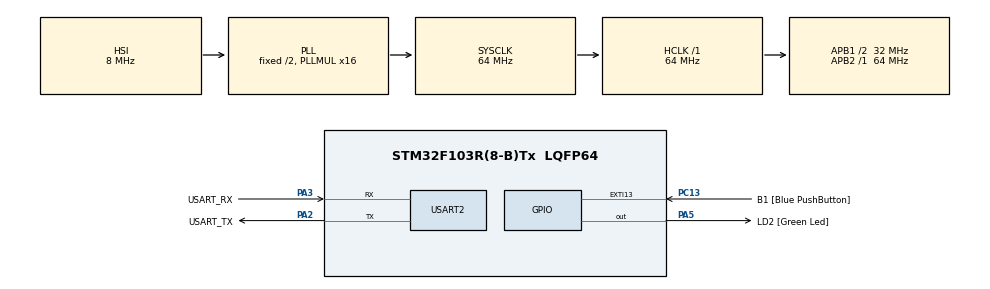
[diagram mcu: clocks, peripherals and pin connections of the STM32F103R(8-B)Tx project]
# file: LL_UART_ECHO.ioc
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Mcu.Family=STM32F1
PC15-OSC32_OUT.Mode=LSE-External-Oscillator
PA2.GPIO_PuPd=GPIO_NOPULL
PD1-OSC_OUT.Mode=HSE-External-Clock-Source
PA14.GPIO_Label=TCK
PA3.GPIO_PuPd=GPIO_NOPULL
PA2.GPIO_Speed=GPIO_SPEED_FREQ_LOW
PC13-TAMPER-RTC.Signal=GPXTI13
PD0-OSC_IN.Signal=RCC_OSC_IN
RCC.APB1CLKDivider=RCC_HCLK_DIV2
PC14-OSC32_IN.Signal=RCC_OSC32_IN
PA3.GPIO_Speed=GPIO_SPEED_FREQ_LOW
NVIC.USART2_IRQn=true\:0\:0\:false\:false\:true\:true\:true
RCC.SYSCLKSource=RCC_SYSCLKSOURCE_PLLCLK
ProjectManager.StackSize=0x400
PD1-OSC_OUT.Signal=RCC_OSC_OUT
PA13.Signal=SYS_JTMS-SWDIO
PA3.Mode=Asynchronous
ProjectManager.TargetToolchain=STM32CubeIDE
PA3.GPIO_Mode=GPIO_MODE_AF_PP
RCC.HCLKFreq_Value=64000000
RCC.APB2TimFreq_Value=64000000
RCC.USBFreq_Value=64000000
PC15-OSC32_OUT.Signal=RCC_OSC32_OUT
RCC.AHBFreq_Value=64000000
PD0-OSC_IN.Mode=HSE-External-Clock-Source
NVIC.EXTI15_10_IRQn=true\:0\:0\:false\:false\:true\:true\:true
PA5.Signal=GPIO_Output
board=NUCLEO-F103RB
RCC.RTCClockSelection=RCC_RTCCLKSOURCE_LSE
PC13-TAMPER-RTC.GPIO_Label=B1 [Blue PushButton]
RCC.PLLMUL=RCC_PLL_MUL16
RCC.APB2Freq_Value=64000000
PC14-OSC32_IN.Mode=LSE-External-Oscillator
PA5.GPIO_ModeDefaultOutputPP=GPIO_MODE_OUTPUT_PP
PA14.Mode=Serial_Wire
PA5.GPIO_PuPd=GPIO_NOPULL
PA13.Mode=Serial_Wire
Mcu.Name=STM32F103R(8-B)Tx
PA2.Signal=USART2_TX
PA13.GPIO_Label=TMS
PB3.Signal=SYS_JTDO-TRACESWO
RCC.SYSCLKFreq_VALUE=64000000
Mcu.Package=LQFP64
PA5.GPIO_Label=LD2 [Green Led]
USART2.VirtualMode=VM_ASYNC
PC13-TAMPER-RTC.GPIO_PuPd=GPIO_NOPULL
PA2.GPIO_Label=USART_TX
PA14.Signal=SYS_JTCK-SWCLK
ProjectManager.HeapSize=0x200
PA5.GPIO_Speed=GPIO_SPEED_FREQ_LOW
NVIC.PriorityGroup=NVIC_PRIORITYGROUP_4
RCC.APB1TimFreq_Value=64000000
PA2.Mode=Asynchronous
RCC.APB1Freq_Value=32000000
PA3.GPIO_Label=USART_RX
PA3.Signal=USART2_RX
PA2.GPIO_Mode=GPIO_MODE_AF_PP
PB3.GPIO_Label=SWO

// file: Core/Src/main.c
/* USER CODE BEGIN Header */
/**
  ******************************************************************************
  * @file           : main.c
  * @brief          : Main program body
  ******************************************************************************
  * @attention
  *
  * <h2><center>&copy; Copyright (c) 2021 STMicroelectronics.
  * All rights reserved.</center></h2>
  *
  * This software component is licensed by ST under BSD 3-Clause license,
  * the "License"; You may not use this file except in compliance with the
  * License. You may obtain a copy of the License at:
  *                        opensource.org/licenses/BSD-3-Clause
  *
  ******************************************************************************
  */
/* USER CODE END Header */
#include "main.h"
#include "usart.h"
#include "gpio.h"

/* USER CODE BEGIN PTD */
	UART_Handle_Td Thuart2;
/* USER CODE END PTD */

void SystemClock_Config(void);

int main(void)
{

  /* MCU Configuration--------------------------------------------------------*/

  /* Reset of all peripherals, Initializes the Flash interface and the Systick. */
  HAL_Init();

  /* Configure the system clock */
  SystemClock_Config();

  /* Initialize all configured peripherals */
  MX_GPIO_Init();
  MX_USART2_UART_Init();
  /* USER CODE BEGIN 2 */

#define ReceiveTimeout 10
#define RX_BUFFER_SIZE   80
#define TX_BUFFER_SIZE   100

//uint8_t S_buf[20];

uint8_t Rx_USART2[RX_BUFFER_SIZE];
uint8_t Tx_USART2[TX_BUFFER_SIZE];

  Thuart2.Instance=USART2;
  Thuart2.pTxBuffPtr=Tx_USART2;
  Thuart2.TxXferSize=sizeof(Tx_USART2);
  Thuart2.TxXferCount=0;
  Thuart2.TxXSendCount=0;
  Thuart2.pRxBuffPtr=Rx_USART2;
  Thuart2.RxXferSize=sizeof(Rx_USART2);
  Thuart2.RxXPrevferCount=0;
  Thuart2.RecTimeout=ReceiveTimeout;
  Thuart2.zT=0;
  Thuart2.RecSomething=false;

  InitEcho(&Thuart2);

  /* USER CODE END 2 */

  /* Infinite loop */
  /* USER CODE BEGIN WHILE */
  while (1)
  {
	  HandleEcho( &Thuart2 ,200  );

    /* USER CODE END WHILE */

  }
}

void SystemClock_Config(void)
{
  RCC_OscInitTypeDef RCC_OscInitStruct = {0};
  RCC_ClkInitTypeDef RCC_ClkInitStruct = {0};

  /** Initializes the RCC Oscillators according to the specified parameters
  * in the RCC_OscInitTypeDef structure.
  */
  RCC_OscInitStruct.OscillatorType = RCC_OSCILLATORTYPE_HSI;
  RCC_OscInitStruct.HSIState = RCC_HSI_ON;
  RCC_OscInitStruct.HSICalibrationValue = RCC_HSICALIBRATION_DEFAULT;
  RCC_OscInitStruct.PLL.PLLState = RCC_PLL_ON;
  RCC_OscInitStruct.PLL.PLLSource = RCC_PLLSOURCE_HSI_DIV2;
  RCC_OscInitStruct.PLL.PLLMUL = RCC_PLL_MUL16;
  if (HAL_RCC_OscConfig(&RCC_OscInitStruct) != HAL_OK)
  {
    Error_Handler();
  }
  /** Initializes the CPU, AHB and APB buses clocks
  */
  RCC_ClkInitStruct.ClockType = RCC_CLOCKTYPE_HCLK|RCC_CLOCKTYPE_SYSCLK
                              |RCC_CLOCKTYPE_PCLK1|RCC_CLOCKTYPE_PCLK2;
  RCC_ClkInitStruct.SYSCLKSource = RCC_SYSCLKSOURCE_PLLCLK;
  RCC_ClkInitStruct.AHBCLKDivider = RCC_SYSCLK_DIV1;
  RCC_ClkInitStruct.APB1CLKDivider = RCC_HCLK_DIV2;
  RCC_ClkInitStruct.APB2CLKDivider = RCC_HCLK_DIV1;

  if (HAL_RCC_ClockConfig(&RCC_ClkInitStruct, FLASH_LATENCY_2) != HAL_OK)
  {
    Error_Handler();
  }
}

void Error_Handler(void)
{
  __disable_irq();
  while (1)
  {
  }
}

/************************ (C) COPYRIGHT STMicroelectronics *****END OF FILE****/
